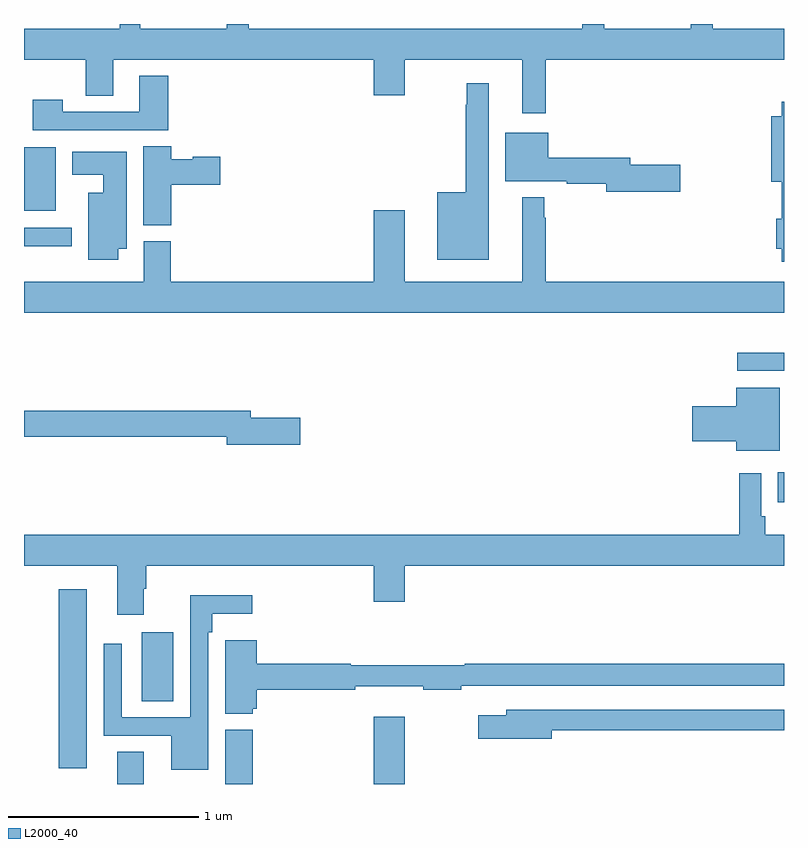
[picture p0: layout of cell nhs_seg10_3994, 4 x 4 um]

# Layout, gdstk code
import gdstk
lib = gdstk.Library(unit=1e-6, precision=1e-09)
def R(c, l, rs):  # rectangles x0, y0, x1, y1
    for r in rs: c.add(gdstk.rectangle(r[:2], r[2:], *l))
def P(c, l, *ps):  # polygons
    for p in ps: c.add(gdstk.Polygon(p, *l))
L2000_40 = (2000, 40)

nhs_seg10_3994 = lib.new_cell('nhs_seg10_3994')
R(nhs_seg10_3994, L2000_40, [(331.49,1300.5,331.63,1300.67), (332.06,1300.5,332.204,1300.786), (332.84,1300.5,333.004,1300.855), (331.184,1300.584,331.33,1301.524), (331.619,1300.936,331.786,1301.299), (334.966,1301.984,335,1302.142), (334.755,1302.675,335,1302.771), (331,1303.331,331.252,1303.428), (331,1303.517,331.168,1303.852)])
P(nhs_seg10_3994, L2000_40, [(332.183,1304.5),(332.066,1304.5),(332.066,1304.476),(331.613,1304.476),(331.613,1304.5),(331.503,1304.5),(331.503,1304.476),(331,1304.476),(331,1304.312),(331.324,1304.312),(331.324,1304.122),(331.471,1304.122),(331.471,1304.312),(332.84,1304.312),(332.84,1304.124),(333.004,1304.124),(333.004,1304.312),(333.623,1304.312),(333.623,1304.031),(333.745,1304.031),(333.745,1304.312),(335,1304.312),(335,1304.476),(334.625,1304.476),(334.625,1304.5),(334.508,1304.5),(334.508,1304.476),(334.055,1304.476),(334.055,1304.5),(333.937,1304.5),(333.937,1304.476),(332.183,1304.476)],
  [(331.76,1304.227),(331.607,1304.227),(331.607,1304.037),(331.203,1304.037),(331.203,1304.101),(331.047,1304.101),(331.047,1303.941),(331.76,1303.941)],
  [(333.445,1304.188),(333.331,1304.188),(333.331,1304.075),(333.324,1304.075),(333.324,1303.615),(333.176,1303.615),(333.176,1303.259),(333.445,1303.259)],
  [(335,1304.091),(334.987,1304.091),(334.987,1304.014),(334.934,1304.014),(334.934,1303.67),(334.987,1303.67),(334.987,1303.474),(334.958,1303.474),(334.958,1303.316),(334.987,1303.316),(334.987,1303.248),(335,1303.248)],
  [(334.453,1303.76),(334.192,1303.76),(334.192,1303.796),(333.76,1303.796),(333.76,1303.927),(333.533,1303.927),(333.533,1303.673),(333.856,1303.673),(333.856,1303.66),(334.064,1303.66),(334.064,1303.618),(334.453,1303.618)],
  [(331.775,1303.655),(332.032,1303.655),(332.032,1303.802),(331.889,1303.802),(331.889,1303.789),(331.775,1303.789),(331.775,1303.856),(331.628,1303.856),(331.628,1303.441),(331.775,1303.441)],
  [(331.495,1303.316),(331.54,1303.316),(331.54,1303.828),(331.253,1303.828),(331.253,1303.706),(331.418,1303.706),(331.418,1303.612),(331.337,1303.612),(331.337,1303.26),(331.495,1303.26)],
  [(335,1303.144),(333.745,1303.144),(333.745,1303.481),(333.738,1303.481),(333.738,1303.588),(333.623,1303.588),(333.623,1303.144),(333.004,1303.144),(333.004,1303.519),(332.84,1303.519),(332.84,1303.144),(331.772,1303.144),(331.772,1303.356),(331.631,1303.356),(331.631,1303.144),(331,1303.144),(331,1302.98),(335,1302.98)],
  [(334.978,1302.586),(334.748,1302.586),(334.748,1302.488),(334.518,1302.488),(334.518,1302.305),(334.748,1302.305),(334.748,1302.254),(334.978,1302.254)],
  [(332.455,1302.428),(332.194,1302.428),(332.194,1302.464),(331,1302.464),(331,1302.328),(332.066,1302.328),(332.066,1302.286),(332.455,1302.286)],
  [(331.63,1301.528),(331.643,1301.528),(331.643,1301.648),(332.84,1301.648),(332.84,1301.46),(333.004,1301.46),(333.004,1301.648),(335,1301.648),(335,1301.812),(334.901,1301.812),(334.901,1301.908),(334.881,1301.908),(334.881,1302.136),(334.765,1302.136),(334.765,1301.812),(331,1301.812),(331,1301.648),(331.49,1301.648),(331.49,1301.391),(331.63,1301.391)],
  [(331.971,1301.3),(331.991,1301.3),(331.991,1301.396),(332.2,1301.396),(332.2,1301.494),(331.875,1301.494),(331.875,1300.851),(331.515,1300.851),(331.515,1301.239),(331.419,1301.239),(331.419,1300.755),(331.775,1300.755),(331.775,1300.574),(331.971,1300.574)],
  [(332.205,1300.896),(332.224,1300.896),(332.224,1300.996),(332.744,1300.996),(332.744,1301.015),(333.1,1301.015),(333.1,1300.996),(333.302,1300.996),(333.302,1301.016),(335,1301.016),(335,1301.132),(333.32,1301.132),(333.32,1301.125),(332.72,1301.125),(332.72,1301.132),(332.224,1301.132),(332.224,1301.257),(332.06,1301.257),(332.06,1300.871),(332.205,1300.871)],
  [(333.778,1300.782),(335,1300.782),(335,1300.89),(333.539,1300.89),(333.539,1300.861),(333.39,1300.861),(333.39,1300.739),(333.778,1300.739)])

lib.write_gds('nhs_seg10_3994.gds')
